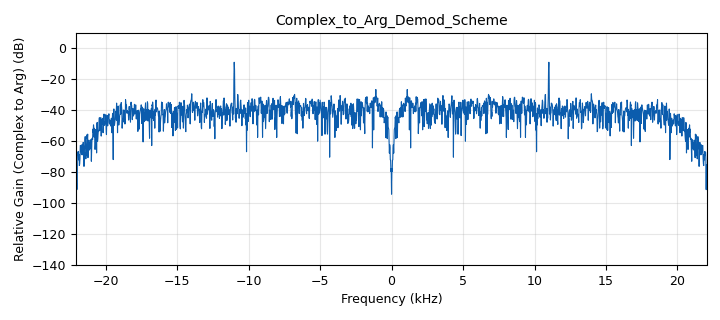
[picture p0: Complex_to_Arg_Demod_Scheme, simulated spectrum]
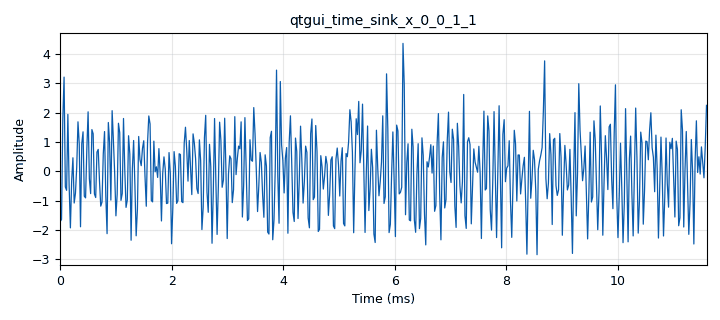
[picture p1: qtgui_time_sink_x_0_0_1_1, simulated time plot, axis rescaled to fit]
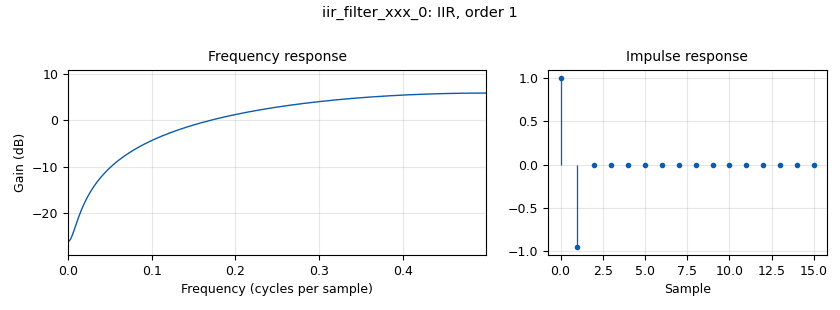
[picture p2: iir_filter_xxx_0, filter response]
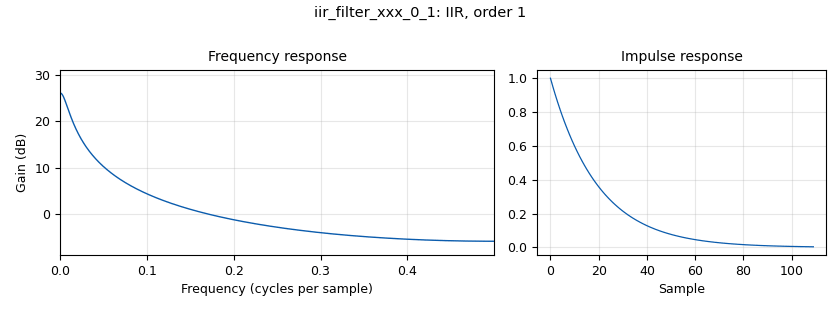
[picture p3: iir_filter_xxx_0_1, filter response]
<?xml version='1.0' encoding='utf-8'?>
<?grc format='1' created='3.7.13'?>
<flow_graph>
<block>
<key>options</key>
<param><key>id</key><value>top_block</value></param>
<param><key>generate_options</key><value>qt_gui</value></param>
</block>
<block>
<key>variable</key>
<param><key>id</key><value>audio_rate</value></param>
<param><key>value</key><value>44100</value></param>
</block>
<block>
<key>variable_qtgui_range</key>
<param><key>id</key><value>noise_amplitude</value></param>
<param><key>value</key><value>0.2</value></param>
<param><key>orient</key><value>Qt.Horizontal</value></param>
<param><key>start</key><value>0</value></param>
<param><key>step</key><value>.1</value></param>
<param><key>stop</key><value>1</value></param>
</block>
<block>
<key>variable</key>
<param><key>id</key><value>samp_rate</value></param>
<param><key>value</key><value>3528000</value></param>
</block>
<block>
<key>qtgui_freq_sink_x</key>
<param><key>id</key><value>Complex_to_Arg_Demod_Scheme</value></param>
<param><key>bw</key><value>audio_rate</value></param>
<param><key>fc</key><value>0</value></param>
<param><key>fftsize</key><value>2048</value></param>
<param><key>gui_hint</key><value>tab@1</value></param>
<param><key>showports</key><value>True</value></param>
<param><key>type</key><value>float</value></param>
<param><key>wintype</key><value>firdes.WIN_HAMMING</value></param>
<param><key>label</key><value>Relative Gain (Complex to Arg)</value></param>
</block>
<block>
<key>analog_noise_source_x</key>
<param><key>id</key><value>analog_noise_source_x_0</value></param>
<param><key>amp</key><value>noise_amplitude</value></param>
<param><key>noise_type</key><value>analog.GR_GAUSSIAN</value></param>
<param><key>type</key><value>float</value></param>
<param><key>seed</key><value>0</value></param>
</block>
<block>
<key>analog_phase_modulator_fc</key>
<param><key>id</key><value>analog_phase_modulator_fc_0_0</value></param>
<param><key>sensitivity</key><value>6.28318530718*75000</value></param>
</block>
<block>
<key>analog_sig_source_x</key>
<param><key>id</key><value>analog_sig_source_x_0_0_1</value></param>
<param><key>amp</key><value>1</value></param>
<param><key>freq</key><value>200000</value></param>
<param><key>offset</key><value>0</value></param>
<param><key>type</key><value>complex</value></param>
<param><key>samp_rate</key><value>samp_rate</value></param>
<param><key>waveform</key><value>analog.GR_COS_WAVE</value></param>
</block>
<block>
<key>analog_sig_source_x</key>
<param><key>id</key><value>analog_sig_source_x_0_1</value></param>
<param><key>amp</key><value>0.5</value></param>
<param><key>freq</key><value>1100</value></param>
<param><key>offset</key><value>0</value></param>
<param><key>type</key><value>float</value></param>
<param><key>samp_rate</key><value>audio_rate</value></param>
<param><key>waveform</key><value>analog.GR_COS_WAVE</value></param>
</block>
<block>
<key>analog_sig_source_x</key>
<param><key>id</key><value>analog_sig_source_x_0_1_0</value></param>
<param><key>amp</key><value>0.5</value></param>
<param><key>freq</key><value>11000</value></param>
<param><key>offset</key><value>0</value></param>
<param><key>type</key><value>float</value></param>
<param><key>samp_rate</key><value>audio_rate</value></param>
<param><key>waveform</key><value>analog.GR_COS_WAVE</value></param>
</block>
<block>
<key>blocks_add_xx</key>
<param><key>id</key><value>blocks_add_xx_0</value></param>
<param><key>type</key><value>float</value></param>
</block>
<block>
<key>blocks_add_xx</key>
<param><key>id</key><value>blocks_add_xx_1</value></param>
<param><key>type</key><value>float</value></param>
</block>
<block>
<key>blocks_complex_to_arg</key>
<param><key>id</key><value>blocks_complex_to_arg_0_0</value></param>
</block>
<block>
<key>blocks_complex_to_real</key>
<param><key>id</key><value>blocks_complex_to_real_0</value></param>
</block>
<block>
<key>blocks_delay</key>
<param><key>id</key><value>blocks_delay_0</value></param>
<param><key>delay</key><value>1</value></param>
<param><key>type</key><value>complex</value></param>
</block>
<block>
<key>blocks_divide_xx</key>
<param><key>id</key><value>blocks_divide_xx_0</value></param>
<param><key>type</key><value>complex</value></param>
</block>
<block>
<key>blocks_float_to_complex</key>
<param><key>id</key><value>blocks_float_to_complex_1</value></param>
</block>
<block>
<key>blocks_multiply_xx</key>
<param><key>id</key><value>blocks_multiply_xx_0</value></param>
<param><key>type</key><value>complex</value></param>
</block>
<block>
<key>blocks_throttle</key>
<param><key>id</key><value>blocks_throttle_0_0_1_1_0</value></param>
<param><key>samples_per_second</key><value>audio_rate</value></param>
<param><key>type</key><value>float</value></param>
</block>
<block>
<key>dc_blocker_xx</key>
<param><key>id</key><value>dc_blocker_xx_0_0</value></param>
<param><key>length</key><value>32</value></param>
<param><key>long_form</key><value>True</value></param>
<param><key>type</key><value>ff</value></param>
</block>
<block>
<key>iir_filter_xxx</key>
<param><key>id</key><value>iir_filter_xxx_0</value></param>
<param><key>fftaps</key><value>[1,-0.95]</value></param>
<param><key>fbtaps</key><value>[1]</value></param>
<param><key>type</key><value>ffd</value></param>
</block>
<block>
<key>iir_filter_xxx</key>
<param><key>id</key><value>iir_filter_xxx_0_0</value></param>
<param><key>fftaps</key><value>[1.0/samp_rate]</value></param>
<param><key>fbtaps</key><value>[1,1]</value></param>
<param><key>type</key><value>ffd</value></param>
</block>
<block>
<key>iir_filter_xxx</key>
<param><key>id</key><value>iir_filter_xxx_0_1</value></param>
<param><key>fftaps</key><value>[1]</value></param>
<param><key>fbtaps</key><value>[1,-0.95]</value></param>
<param><key>oldstyle</key><value>False</value></param>
<param><key>type</key><value>ffd</value></param>
</block>
<block>
<key>qtgui_time_sink_x</key>
<param><key>id</key><value>qtgui_time_sink_x_0_0_1_1</value></param>
<param><key>entags</key><value>False</value></param>
<param><key>gui_hint</key><value>tab@1</value></param>
<param><key>color1</key><value>"blue"</value></param>
<param><key>label1</key><value></value></param>
<param><key>size</key><value>512</value></param>
<param><key>srate</key><value>audio_rate</value></param>
<param><key>type</key><value>float</value></param>
</block>
<block>
<key>rational_resampler_xxx</key>
<param><key>id</key><value>rational_resampler_xxx_0</value></param>
<param><key>decim</key><value>80</value></param>
<param><key>interp</key><value>1</value></param>
<param><key>taps</key><value></value></param>
<param><key>type</key><value>fff</value></param>
</block>
<block>
<key>rational_resampler_xxx</key>
<param><key>id</key><value>rational_resampler_xxx_0_0</value></param>
<param><key>decim</key><value>44100</value></param>
<param><key>interp</key><value>3528000</value></param>
<param><key>taps</key><value></value></param>
<param><key>type</key><value>fff</value></param>
</block>
<block>
<key>qtgui_tab_widget</key>
<param><key>id</key><value>tab</value></param>
<param><key>label0</key><value>mod</value></param>
<param><key>label1</key><value>demod</value></param>
<param><key>num_tabs</key><value>2</value></param>
</block>
<connection><source_block_id>analog_noise_source_x_0</source_block_id><sink_block_id>blocks_add_xx_1</sink_block_id><source_key>0</source_key><sink_key>0</sink_key></connection>
<connection><source_block_id>analog_phase_modulator_fc_0_0</source_block_id><sink_block_id>blocks_multiply_xx_0</sink_block_id><source_key>0</source_key><sink_key>0</sink_key></connection>
<connection><source_block_id>analog_sig_source_x_0_0_1</source_block_id><sink_block_id>blocks_multiply_xx_0</sink_block_id><source_key>0</source_key><sink_key>1</sink_key></connection>
<connection><source_block_id>analog_sig_source_x_0_1</source_block_id><sink_block_id>blocks_add_xx_0</sink_block_id><source_key>0</source_key><sink_key>0</sink_key></connection>
<connection><source_block_id>analog_sig_source_x_0_1_0</source_block_id><sink_block_id>blocks_add_xx_0</sink_block_id><source_key>0</source_key><sink_key>1</sink_key></connection>
<connection><source_block_id>blocks_add_xx_0</source_block_id><sink_block_id>iir_filter_xxx_0</sink_block_id><source_key>0</source_key><sink_key>0</sink_key></connection>
<connection><source_block_id>blocks_add_xx_1</source_block_id><sink_block_id>blocks_float_to_complex_1</sink_block_id><source_key>0</source_key><sink_key>0</sink_key></connection>
<connection><source_block_id>blocks_complex_to_arg_0_0</source_block_id><sink_block_id>iir_filter_xxx_0_1</sink_block_id><source_key>0</source_key><sink_key>0</sink_key></connection>
<connection><source_block_id>blocks_complex_to_real_0</source_block_id><sink_block_id>blocks_add_xx_1</sink_block_id><source_key>0</source_key><sink_key>1</sink_key></connection>
<connection><source_block_id>blocks_delay_0</source_block_id><sink_block_id>blocks_divide_xx_0</sink_block_id><source_key>0</source_key><sink_key>0</sink_key></connection>
<connection><source_block_id>blocks_divide_xx_0</source_block_id><sink_block_id>blocks_complex_to_arg_0_0</sink_block_id><source_key>0</source_key><sink_key>0</sink_key></connection>
<connection><source_block_id>blocks_float_to_complex_1</source_block_id><sink_block_id>blocks_delay_0</sink_block_id><source_key>0</source_key><sink_key>0</sink_key></connection>
<connection><source_block_id>blocks_float_to_complex_1</source_block_id><sink_block_id>blocks_divide_xx_0</sink_block_id><source_key>0</source_key><sink_key>1</sink_key></connection>
<connection><source_block_id>blocks_multiply_xx_0</source_block_id><sink_block_id>blocks_complex_to_real_0</sink_block_id><source_key>0</source_key><sink_key>0</sink_key></connection>
<connection><source_block_id>blocks_throttle_0_0_1_1_0</source_block_id><sink_block_id>Complex_to_Arg_Demod_Scheme</sink_block_id><source_key>0</source_key><sink_key>0</sink_key></connection>
<connection><source_block_id>blocks_throttle_0_0_1_1_0</source_block_id><sink_block_id>qtgui_time_sink_x_0_0_1_1</sink_block_id><source_key>0</source_key><sink_key>0</sink_key></connection>
<connection><source_block_id>dc_blocker_xx_0_0</source_block_id><sink_block_id>blocks_throttle_0_0_1_1_0</sink_block_id><source_key>0</source_key><sink_key>0</sink_key></connection>
<connection><source_block_id>iir_filter_xxx_0</source_block_id><sink_block_id>rational_resampler_xxx_0_0</sink_block_id><source_key>0</source_key><sink_key>0</sink_key></connection>
<connection><source_block_id>iir_filter_xxx_0_0</source_block_id><sink_block_id>analog_phase_modulator_fc_0_0</sink_block_id><source_key>0</source_key><sink_key>0</sink_key></connection>
<connection><source_block_id>iir_filter_xxx_0_1</source_block_id><sink_block_id>rational_resampler_xxx_0</sink_block_id><source_key>0</source_key><sink_key>0</sink_key></connection>
<connection><source_block_id>rational_resampler_xxx_0</source_block_id><sink_block_id>dc_blocker_xx_0_0</sink_block_id><source_key>0</source_key><sink_key>0</sink_key></connection>
<connection><source_block_id>rational_resampler_xxx_0_0</source_block_id><sink_block_id>iir_filter_xxx_0_0</sink_block_id><source_key>0</source_key><sink_key>0</sink_key></connection>
</flow_graph>
